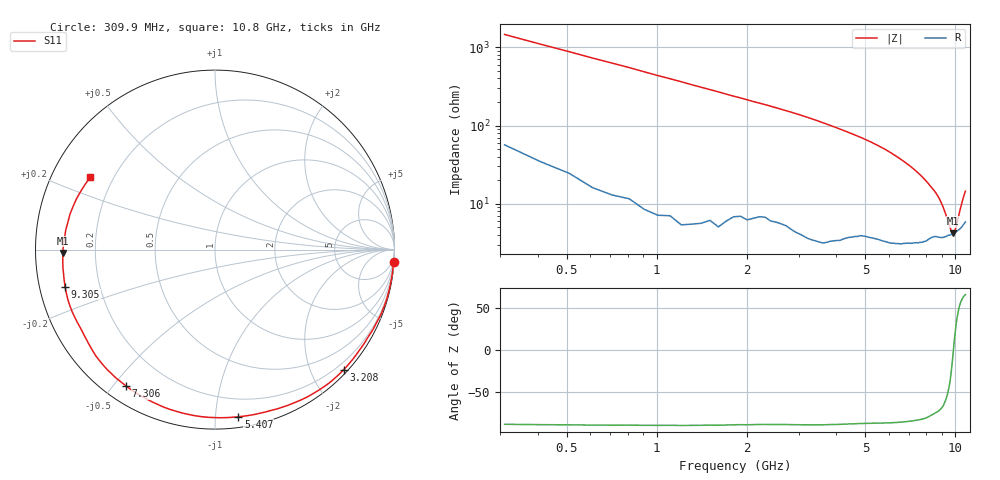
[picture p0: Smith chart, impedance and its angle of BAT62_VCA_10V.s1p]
! Infineon Technologies  Discrete & RF Semiconductors
! BAT62
! VCA = 10 V
! One-Port S-Parameters
# Hz  S  MA  R  50
!f  S11
!Hz  Mag  Ang
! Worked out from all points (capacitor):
!   106 points, 309.9 MHz to 10.8 GHz, reference 50 ohm
!   read as one part to ground: C = 354 fF near 309.9 MHz
!   lowest |Z| = 4.15 ohm at 9.805 GHz (marker M1)
!   series resonance near 9.849 GHz, so ESL is about 740 pH
!   S11 on the Smith chart (normalised r, x): 309.9 MHz: 1, -29; 3.208 GHz: 0.07, -2.53; 5.407 GHz: 0.07, -1.15; 7.306 GHz: 0.06, -0.54; 9.305 GHz: 0.08, -0.12; 10.8 GHz: 0.12, +0.26
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3.0985e8  0.9974 -3.9
1.0095e9  0.9963 -13.1
1.70915e9  0.991 -22.4
2.4088e9  0.9824 -31.6
3.0085e9  0.981 -40.0
3.2084e9  0.9808 -43.1
3.70815e9  0.9764 -51.2
4.30785e9  0.9628 -61.5
4.70765e9  0.9526 -68.7
5.10745e9  0.9447 -76.1
5.4073e9  0.9405 -82.1
5.6072e9  0.9383 -86.2
6.007e9  0.9338 -94.7
6.30685e9  0.9288 -101.3
6.6067e9  0.9231 -108.0
6.90655e9  0.9153 -114.6
7.30635e9  0.907 -123.2
7.8061e9  0.8955 -134.1
8.2059e9  0.8794 -142.6
8.8056e9  0.8676 -154.4
9.10545e9  0.8657 -161.3
9.30535e9  0.8606 -166.1
9.50525e9  0.8545 -170.9
9.8051e9  0.8479 -178.7
1.010495e10  0.8387 172.5
1.030485e10  0.8318 166.4
1.050475e10  0.8223 160.0
1.08046e10  0.8038 150.0
